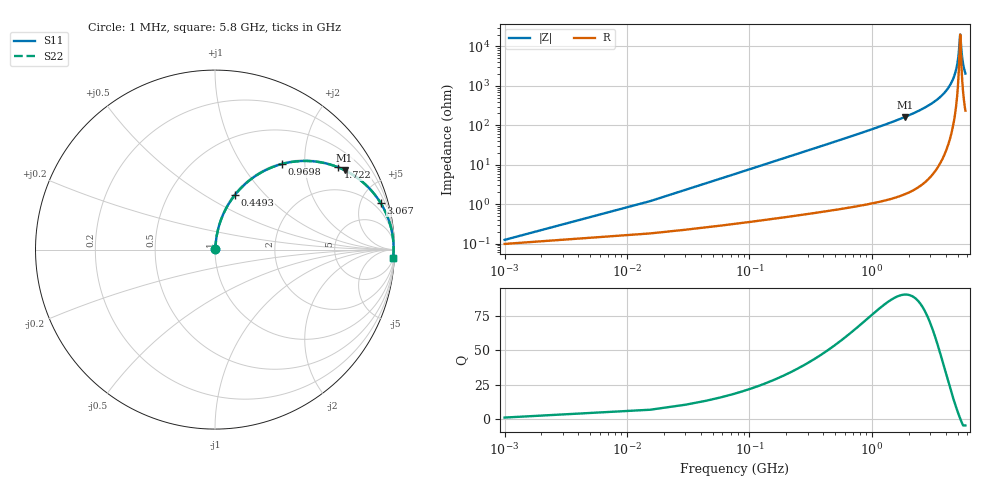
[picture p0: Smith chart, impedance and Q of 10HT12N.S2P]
! Coilcraft 1008HT-12N Chip Inductor
! 16 July 2002
# MHZ S MA R 50
!Freq  MagS11  AngS11  MagS21  AngS21  MagS12  AngS12  MagS22  AngS22
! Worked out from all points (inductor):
!   403 points, 1 MHz to 5.8 GHz, reference 50 ohm
!   read as one part in series: L = 12.2 nH near 29.92 MHz
!   highest Q = 90.9 at 1.852 GHz (marker M1), where L = 13.9 nH
!   self-resonance near 5.25 GHz
!   S11 on the Smith chart (normalised r, x): 1 MHz: 1.00, +0.00; 449.3 MHz: 1.01, +0.69; 969.8 MHz: 1.02, +1.54; 1.722 GHz: 1.03, +2.96; 3.067 GHz: 1.11, +7.12; 5.8 GHz: 6, -41
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1  0.001246 37.9  0.999 -0.0  0.999 -0.0  0.001246 37.9
44.38  0.03401 83.7  0.9968 -1.9  0.9968 -1.9  0.03401 83.7
73.3  0.05602 83.6  0.9953 -3.2  0.9953 -3.2  0.05602 83.6
102.22  0.07795 82.9  0.9934 -4.5  0.9934 -4.5  0.07795 82.9
232.36  0.1749 78.3  0.9797 -10.1  0.9797 -10.1  0.1749 78.3
449.26  0.3258 69.9  0.9391 -19.0  0.9391 -19.0  0.3258 69.9
969.82  0.606 51.9  0.7874 -37.3  0.7874 -37.3  0.606 51.9
1721.74  0.824 33.9  0.5575 -55.5  0.5575 -55.5  0.824 33.9
1851.88  0.8468 31.5  0.5226 -57.9  0.5226 -57.9  0.8468 31.5
1938.64  0.8603 30.0  0.5003 -59.3  0.5003 -59.3  0.8603 30.0
2907.46  0.951 17.2  0.2964 -72.0  0.2964 -72.0  0.951 17.2
3066.52  0.959 15.6  0.2694 -73.5  0.2694 -73.5  0.959 15.6
3876.28  0.9845 8.7  0.1516 -79.8  0.1516 -79.8  0.9845 8.7
4454.68  0.9924 4.7  0.08243 -82.3  0.08243 -82.3  0.9924 4.7
4845.1  0.9946 2.3  0.041 -81.3  0.041 -81.3  0.9946 2.3
5062  0.9951 1.1  0.0197 -75.0  0.0197 -75.0  0.9951 1.1
5134.3  0.9951 0.7  0.01304 -67.7  0.01304 -67.7  0.9951 0.7
5235.52  0.9951 0.1  0.005499 -26.8  0.005499 -26.8  0.9951 0.1
5264.44  0.9951 -0.0  0.004938 2.6  0.004938 2.6  0.9951 -0.0
5394.58  0.9949 -0.7  0.01328 66.8  0.01328 66.8  0.9949 -0.7
5481.34  0.9946 -1.2  0.02079 74.5  0.02079 74.5  0.9946 -1.2
5800  0.9933 -2.8  0.04832 80.7  0.04832 80.7  0.9933 -2.8
